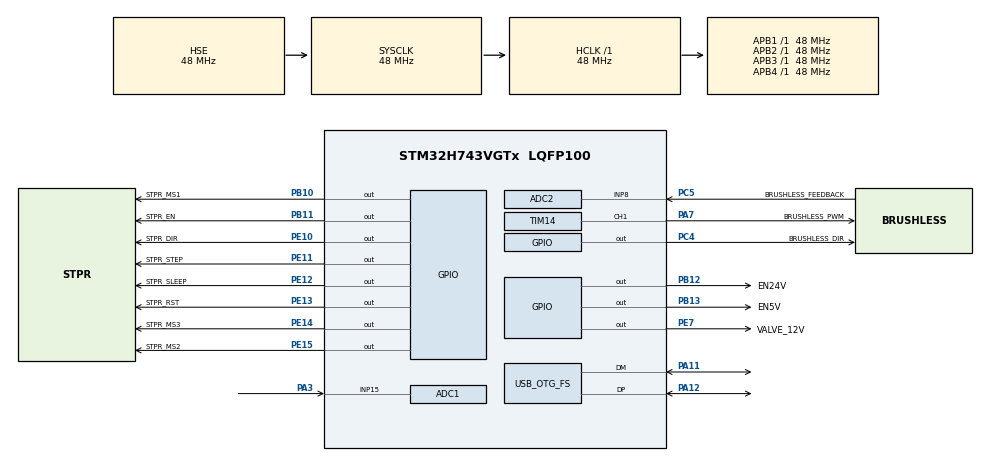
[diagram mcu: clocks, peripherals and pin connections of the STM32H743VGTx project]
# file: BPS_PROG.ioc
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ADC1.Channel-1\#ChannelRegularConversion=ADC_CHANNEL_15
ADC1.NbrOfConversionFlag=1
ADC1.OffsetNumber-1\#ChannelRegularConversion=ADC_OFFSET_NONE
ADC1.OffsetSignedSaturation-1\#ChannelRegularConversion=DISABLE
ADC1.Rank-1\#ChannelRegularConversion=1
ADC1.SamplingTime-1\#ChannelRegularConversion=ADC_SAMPLETIME_1CYCLE_5
ADC1.master=1
ADC2.Channel-0\#ChannelRegularConversion=ADC_CHANNEL_8
ADC2.NbrOfConversionFlag=1
ADC2.OffsetNumber-0\#ChannelRegularConversion=ADC_OFFSET_NONE
ADC2.OffsetSignedSaturation-0\#ChannelRegularConversion=DISABLE
ADC2.Rank-0\#ChannelRegularConversion=1
ADC2.SamplingTime-0\#ChannelRegularConversion=ADC_SAMPLETIME_1CYCLE_5
CORTEX_M7.default_mode_Activation=1
Mcu.Family=STM32H7
Mcu.Name=STM32H743VGTx
Mcu.Package=LQFP100
NVIC.OTG_FS_IRQn=true\:0\:0\:false\:false\:true\:false\:true\:true
NVIC.PriorityGroup=NVIC_PRIORITYGROUP_4
NVIC.TIM16_IRQn=true\:0\:0\:false\:false\:true\:true\:true\:true
NVIC.TIM8_UP_TIM13_IRQn=true\:0\:0\:false\:false\:true\:true\:true\:true
PA11.Mode=Device_Only
PA11.Signal=USB_OTG_FS_DM
PA12.Mode=Device_Only
PA12.Signal=USB_OTG_FS_DP
PA3.Signal=ADCx_INP15
PA7.GPIO_Label=BRUSHLESS_PWM
PA7.Signal=S_TIM14_CH1
PB10.GPIO_Label=STPR_MS1
PB10.Signal=GPIO_Output
PB11.GPIO_Label=STPR_EN
PB11.Signal=GPIO_Output
PB12.GPIO_Label=EN24V
PB12.Signal=GPIO_Output
PB13.GPIO_Label=EN5V
PB13.Signal=GPIO_Output
PC4.GPIO_Label=BRUSHLESS_DIR
PC4.Signal=GPIO_Output
PC5.GPIO_Label=BRUSHLESS_FEEDBACK
PC5.Signal=ADCx_INP8
PE10.GPIO_Label=STPR_DIR
PE10.Signal=GPIO_Output
PE11.GPIO_Label=STPR_STEP
PE11.Signal=GPIO_Output
PE12.GPIO_Label=STPR_SLEEP
PE12.Signal=GPIO_Output
PE13.GPIO_Label=STPR_RST
PE13.Signal=GPIO_Output
PE14.GPIO_Label=STPR_MS3
PE14.Signal=GPIO_Output
PE15.GPIO_Label=STPR_MS2
PE15.Signal=GPIO_Output
PE7.GPIO_Label=VALVE_12V
PE7.Signal=GPIO_Output
PH0-OSC_IN\ (PH0).Mode=HSE-External-Oscillator
PH0-OSC_IN\ (PH0).Signal=RCC_OSC_IN
PH1-OSC_OUT\ (PH1).Mode=HSE-External-Oscillator
PH1-OSC_OUT\ (PH1).Signal=RCC_OSC_OUT
ProjectManager.HeapSize=0x200
ProjectManager.StackSize=0x400
ProjectManager.TargetToolchain=STM32CubeIDE
RCC.ADCCLockSelection=RCC_ADCCLKSOURCE_CLKP
RCC.ADCFreq_Value=64000000
RCC.APB1Freq_Value=48000000
RCC.APB2Freq_Value=48000000
RCC.APB3Freq_Value=48000000
RCC.APB4Freq_Value=48000000
RCC.CortexFreq_Value=48000000
RCC.DIVM3=4
RCC.DIVN3=16
RCC.DIVQ3=4
RCC.HCLKFreq_Value=48000000
RCC.HSE_VALUE=48000000
RCC.PLLSourceVirtual=RCC_PLLSOURCE_HSE
RCC.SYSCLKFreq_VALUE=48000000
RCC.SYSCLKSource=RCC_SYSCLKSOURCE_HSE
RCC.USBCLockSelection=RCC_USBCLKSOURCE_HSI48
RCC.USBFreq_Value=48000000
SH.ADCx_INP15.0=ADC1_INP15,IN15-Single-Ended
SH.ADCx_INP8.0=ADC2_INP8,IN8-Single-Ended
SH.S_TIM14_CH1.0=TIM14_CH1,PWM Generation1 CH1
TIM13.Period=1000-1
TIM13.Prescaler=48-1
TIM14.AutoReloadPreload=TIM_AUTORELOAD_PRELOAD_ENABLE
TIM14.Channel=TIM_CHANNEL_1
TIM14.OCFastMode_PWM=TIM_OCFAST_ENABLE
TIM14.OCPolarity_1=TIM_OCPOLARITY_LOW
TIM14.Period=2000 -1
TIM14.Prescaler=1
TIM14.Pulse=0
TIM16.Period=6- 1
TIM16.Prescaler=4800-1
USB_DEVICE.CLASS_NAME_FS=CDC
USB_DEVICE.VirtualMode-CDC_FS=Cdc
USB_DEVICE.VirtualModeFS=Cdc_FS
USB_OTG_FS.VirtualMode=Device_Only
VP_MEMORYMAP_VS_MEMORYMAP.Mode=CurAppReg
VP_TIM13_VS_ClockSourceINT.Mode=Enable_Timer
VP_TIM14_VS_ClockSourceINT.Mode=Enable_Timer
VP_TIM16_VS_ClockSourceINT.Mode=Enable_Timer
VP_USB_DEVICE_VS_USB_DEVICE_CDC_FS.Mode=CDC_FS
board=custom

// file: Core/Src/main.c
/* USER CODE BEGIN Header */
/**
  ******************************************************************************
  * @file           : main.c
  * @brief          : Main program body
  ******************************************************************************
  * @attention
  *
  * Copyright (c) 2025 STMicroelectronics.
  * All rights reserved.
  *
  * This software is licensed under terms that can be found in the LICENSE file
  * in the root directory of this software component.
  * If no LICENSE file comes with this software, it is provided AS-IS.
  *
  ******************************************************************************
  */
/* USER CODE END Header */
#include "main.h"
#include "usb_device.h"

/* USER CODE BEGIN Includes */
#include "usbd_cdc_if.h"
#include "string.h"
#include "menu.h"
/* USER CODE END Includes */

/* USER CODE BEGIN PD */

uint8_t rx_buffer[64];
uint8_t bufCount;

/* USER CODE END PD */

ADC_HandleTypeDef hadc1;
ADC_HandleTypeDef hadc2;

TIM_HandleTypeDef htim13;
TIM_HandleTypeDef htim14;
TIM_HandleTypeDef htim16;

/* USER CODE BEGIN PV */
uint32_t elapsed_ms = 0;
/* USER CODE END PV */

void SystemClock_Config(void);
void PeriphCommonClock_Config(void);
static void MPU_Config(void);
static void MX_GPIO_Init(void);
static void MX_ADC1_Init(void);
static void MX_TIM16_Init(void);
static void MX_ADC2_Init(void);
static void MX_TIM14_Init(void);
static void MX_TIM13_Init(void);

int main(void)
{

  /* MPU Configuration--------------------------------------------------------*/
  MPU_Config();

  /* MCU Configuration--------------------------------------------------------*/

  /* Reset of all peripherals, Initializes the Flash interface and the Systick. */
  HAL_Init();

  /* Configure the system clock */
  SystemClock_Config();

  /* Configure the peripherals common clocks */
  PeriphCommonClock_Config();

  /* Initialize all configured peripherals */
  MX_GPIO_Init();
  MX_USB_DEVICE_Init();
  MX_ADC1_Init();
  MX_TIM16_Init();
  MX_ADC2_Init();
  MX_TIM14_Init();
  MX_TIM13_Init();
  /* USER CODE BEGIN 2 */
  //Begin global timer
  HAL_TIM_Base_Start_IT(&htim13);

  /* USER CODE END 2 */

  /* Infinite loop */
  /* USER CODE BEGIN WHILE */
  while (1)
  {

	 // printf("Test Scanf \n\n");
	  HAL_GPIO_WritePin(EN5V_GPIO_Port, EN5V_Pin, GPIO_PIN_SET);
	  HAL_TIM_PWM_Start(&htim14, TIM_CHANNEL_1); //This needs to start IMMEDIATELY

	// char buf[64];
	// int co;

	//  co = copyReadBuffer(buf);

	//  printf("Found %d bytes: %s\n", co, buf);

	 // HAL_Delay(5000);
		HAL_TIM_Base_Start_IT(&htim16);

	  printf("BPS Application Loader\n\n");

	  menu();

	  printf("Error: returned from BPS Application menu");

    /* USER CODE END WHILE */

    /* USER CODE BEGIN 3 */
	 // printf("test\n");
	 // char * data = "Hello buddy\n";

	//  CDC_Transmit_FS((uint8_t *) data, strlen(data));
	//  HAL_Delay(1000);

	 // printf("Content in rx buffer: %s\n", rx_buffer);

  }
  /* USER CODE END 3 */
}

void SystemClock_Config(void)
{
  RCC_OscInitTypeDef RCC_OscInitStruct = {0};
  RCC_ClkInitTypeDef RCC_ClkInitStruct = {0};

  /** Supply configuration update enable
  */
  HAL_PWREx_ConfigSupply(PWR_LDO_SUPPLY);

  /** Configure the main internal regulator output voltage
  */
  __HAL_PWR_VOLTAGESCALING_CONFIG(PWR_REGULATOR_VOLTAGE_SCALE3);

  while(!__HAL_PWR_GET_FLAG(PWR_FLAG_VOSRDY)) {}

  /** Initializes the RCC Oscillators according to the specified parameters
  * in the RCC_OscInitTypeDef structure.
  */
  RCC_OscInitStruct.OscillatorType = RCC_OSCILLATORTYPE_HSI48|RCC_OSCILLATORTYPE_HSI
                              |RCC_OSCILLATORTYPE_HSE;
  RCC_OscInitStruct.HSEState = RCC_HSE_ON;
  RCC_OscInitStruct.HSIState = RCC_HSI_DIV1;
  RCC_OscInitStruct.HSICalibrationValue = RCC_HSICALIBRATION_DEFAULT;
  RCC_OscInitStruct.HSI48State = RCC_HSI48_ON;
  RCC_OscInitStruct.PLL.PLLState = RCC_PLL_NONE;
  if (HAL_RCC_OscConfig(&RCC_OscInitStruct) != HAL_OK)
  {
    Error_Handler();
  }

  /** Initializes the CPU, AHB and APB buses clocks
  */
  RCC_ClkInitStruct.ClockType = RCC_CLOCKTYPE_HCLK|RCC_CLOCKTYPE_SYSCLK
                              |RCC_CLOCKTYPE_PCLK1|RCC_CLOCKTYPE_PCLK2
                              |RCC_CLOCKTYPE_D3PCLK1|RCC_CLOCKTYPE_D1PCLK1;
  RCC_ClkInitStruct.SYSCLKSource = RCC_SYSCLKSOURCE_HSE;
  RCC_ClkInitStruct.SYSCLKDivider = RCC_SYSCLK_DIV1;
  RCC_ClkInitStruct.AHBCLKDivider = RCC_HCLK_DIV1;
  RCC_ClkInitStruct.APB3CLKDivider = RCC_APB3_DIV1;
  RCC_ClkInitStruct.APB1CLKDivider = RCC_APB1_DIV1;
  RCC_ClkInitStruct.APB2CLKDivider = RCC_APB2_DIV1;
  RCC_ClkInitStruct.APB4CLKDivider = RCC_APB4_DIV1;

  if (HAL_RCC_ClockConfig(&RCC_ClkInitStruct, FLASH_LATENCY_1) != HAL_OK)
  {
    Error_Handler();
  }
}

void PeriphCommonClock_Config(void)
{
  RCC_PeriphCLKInitTypeDef PeriphClkInitStruct = {0};

  /** Initializes the peripherals clock
  */
  PeriphClkInitStruct.PeriphClockSelection = RCC_PERIPHCLK_CKPER;
  PeriphClkInitStruct.CkperClockSelection = RCC_CLKPSOURCE_HSI;
  if (HAL_RCCEx_PeriphCLKConfig(&PeriphClkInitStruct) != HAL_OK)
  {
    Error_Handler();
  }
}

static void MX_ADC1_Init(void)
{

  ADC_MultiModeTypeDef multimode = {0};
  ADC_ChannelConfTypeDef sConfig = {0};

  /** Common config
  */
  hadc1.Instance = ADC1;
  hadc1.Init.ClockPrescaler = ADC_CLOCK_ASYNC_DIV2;
  hadc1.Init.Resolution = ADC_RESOLUTION_16B;
  hadc1.Init.ScanConvMode = ADC_SCAN_DISABLE;
  hadc1.Init.EOCSelection = ADC_EOC_SINGLE_CONV;
  hadc1.Init.LowPowerAutoWait = DISABLE;
  hadc1.Init.ContinuousConvMode = DISABLE;
  hadc1.Init.NbrOfConversion = 1;
  hadc1.Init.DiscontinuousConvMode = DISABLE;
  hadc1.Init.ExternalTrigConv = ADC_SOFTWARE_START;
  hadc1.Init.ExternalTrigConvEdge = ADC_EXTERNALTRIGCONVEDGE_NONE;
  hadc1.Init.ConversionDataManagement = ADC_CONVERSIONDATA_DR;
  hadc1.Init.Overrun = ADC_OVR_DATA_PRESERVED;
  hadc1.Init.LeftBitShift = ADC_LEFTBITSHIFT_NONE;
  hadc1.Init.OversamplingMode = DISABLE;
  hadc1.Init.Oversampling.Ratio = 1;
  if (HAL_ADC_Init(&hadc1) != HAL_OK)
  {
    Error_Handler();
  }

  /** Configure the ADC multi-mode
  */
  multimode.Mode = ADC_MODE_INDEPENDENT;
  if (HAL_ADCEx_MultiModeConfigChannel(&hadc1, &multimode) != HAL_OK)
  {
    Error_Handler();
  }

  /** Configure Regular Channel
  */
  sConfig.Channel = ADC_CHANNEL_15;
  sConfig.Rank = ADC_REGULAR_RANK_1;
  sConfig.SamplingTime = ADC_SAMPLETIME_1CYCLE_5;
  sConfig.SingleDiff = ADC_SINGLE_ENDED;
  sConfig.OffsetNumber = ADC_OFFSET_NONE;
  sConfig.Offset = 0;
  sConfig.OffsetSignedSaturation = DISABLE;
  if (HAL_ADC_ConfigChannel(&hadc1, &sConfig) != HAL_OK)
  {
    Error_Handler();
  }

}

static void MX_ADC2_Init(void)
{

  ADC_ChannelConfTypeDef sConfig = {0};

  /** Common config
  */
  hadc2.Instance = ADC2;
  hadc2.Init.ClockPrescaler = ADC_CLOCK_ASYNC_DIV2;
  hadc2.Init.Resolution = ADC_RESOLUTION_16B;
  hadc2.Init.ScanConvMode = ADC_SCAN_DISABLE;
  hadc2.Init.EOCSelection = ADC_EOC_SINGLE_CONV;
  hadc2.Init.LowPowerAutoWait = DISABLE;
  hadc2.Init.ContinuousConvMode = DISABLE;
  hadc2.Init.NbrOfConversion = 1;
  hadc2.Init.DiscontinuousConvMode = DISABLE;
  hadc2.Init.ExternalTrigConv = ADC_SOFTWARE_START;
  hadc2.Init.ExternalTrigConvEdge = ADC_EXTERNALTRIGCONVEDGE_NONE;
  hadc2.Init.ConversionDataManagement = ADC_CONVERSIONDATA_DR;
  hadc2.Init.Overrun = ADC_OVR_DATA_PRESERVED;
  hadc2.Init.LeftBitShift = ADC_LEFTBITSHIFT_NONE;
  hadc2.Init.OversamplingMode = DISABLE;
  hadc2.Init.Oversampling.Ratio = 1;
  if (HAL_ADC_Init(&hadc2) != HAL_OK)
  {
    Error_Handler();
  }

  /** Configure Regular Channel
  */
  sConfig.Channel = ADC_CHANNEL_8;
  sConfig.Rank = ADC_REGULAR_RANK_1;
  sConfig.SamplingTime = ADC_SAMPLETIME_1CYCLE_5;
  sConfig.SingleDiff = ADC_SINGLE_ENDED;
  sConfig.OffsetNumber = ADC_OFFSET_NONE;
  sConfig.Offset = 0;
  sConfig.OffsetSignedSaturation = DISABLE;
  if (HAL_ADC_ConfigChannel(&hadc2, &sConfig) != HAL_OK)
  {
    Error_Handler();
  }

}

static void MX_TIM13_Init(void)
{

  htim13.Instance = TIM13;
  htim13.Init.Prescaler = 48-1;
  htim13.Init.CounterMode = TIM_COUNTERMODE_UP;
  htim13.Init.Period = 1000-1;
  htim13.Init.ClockDivision = TIM_CLOCKDIVISION_DIV1;
  htim13.Init.AutoReloadPreload = TIM_AUTORELOAD_PRELOAD_DISABLE;
  if (HAL_TIM_Base_Init(&htim13) != HAL_OK)
  {
    Error_Handler();
  }

}

static void MX_TIM14_Init(void)
{

  TIM_OC_InitTypeDef sConfigOC = {0};

  htim14.Instance = TIM14;
  htim14.Init.Prescaler = 1;
  htim14.Init.CounterMode = TIM_COUNTERMODE_UP;
  htim14.Init.Period = 2000 -1;
  htim14.Init.ClockDivision = TIM_CLOCKDIVISION_DIV1;
  htim14.Init.AutoReloadPreload = TIM_AUTORELOAD_PRELOAD_ENABLE;
  if (HAL_TIM_Base_Init(&htim14) != HAL_OK)
  {
    Error_Handler();
  }
  if (HAL_TIM_PWM_Init(&htim14) != HAL_OK)
  {
    Error_Handler();
  }
  sConfigOC.OCMode = TIM_OCMODE_PWM1;
  sConfigOC.Pulse = 0;
  sConfigOC.OCPolarity = TIM_OCPOLARITY_LOW;
  sConfigOC.OCFastMode = TIM_OCFAST_ENABLE;
  if (HAL_TIM_PWM_ConfigChannel(&htim14, &sConfigOC, TIM_CHANNEL_1) != HAL_OK)
  {
    Error_Handler();
  }
  HAL_TIM_MspPostInit(&htim14);

}

static void MX_TIM16_Init(void)
{

  htim16.Instance = TIM16;
  htim16.Init.Prescaler = 4800-1;
  htim16.Init.CounterMode = TIM_COUNTERMODE_UP;
  htim16.Init.Period = 6- 1;
  htim16.Init.ClockDivision = TIM_CLOCKDIVISION_DIV1;
  htim16.Init.RepetitionCounter = 0;
  htim16.Init.AutoReloadPreload = TIM_AUTORELOAD_PRELOAD_DISABLE;
  if (HAL_TIM_Base_Init(&htim16) != HAL_OK)
  {
    Error_Handler();
  }

}

static void MX_GPIO_Init(void)
{
  GPIO_InitTypeDef GPIO_InitStruct = {0};

  /* GPIO Ports Clock Enable */
  __HAL_RCC_GPIOH_CLK_ENABLE();
  __HAL_RCC_GPIOA_CLK_ENABLE();
  __HAL_RCC_GPIOC_CLK_ENABLE();
  __HAL_RCC_GPIOE_CLK_ENABLE();
  __HAL_RCC_GPIOB_CLK_ENABLE();

  /*Configure GPIO pin Output Level */
  HAL_GPIO_WritePin(BRUSHLESS_DIR_GPIO_Port, BRUSHLESS_DIR_Pin, GPIO_PIN_RESET);

  /*Configure GPIO pin Output Level */
  HAL_GPIO_WritePin(GPIOE, VALVE_12V_Pin|STPR_DIR_Pin|STPR_STEP_Pin|STPR_SLEEP_Pin
                          |STPR_RST_Pin|STPR_MS3_Pin|STPR_MS2_Pin, GPIO_PIN_RESET);

  /*Configure GPIO pin Output Level */
  HAL_GPIO_WritePin(GPIOB, STPR_MS1_Pin|STPR_EN_Pin|EN24V_Pin|EN5V_Pin, GPIO_PIN_RESET);

  /*Configure GPIO pin : BRUSHLESS_DIR_Pin */
  GPIO_InitStruct.Pin = BRUSHLESS_DIR_Pin;
  GPIO_InitStruct.Mode = GPIO_MODE_OUTPUT_PP;
  GPIO_InitStruct.Pull = GPIO_NOPULL;
  GPIO_InitStruct.Speed = GPIO_SPEED_FREQ_LOW;
  HAL_GPIO_Init(BRUSHLESS_DIR_GPIO_Port, &GPIO_InitStruct);

  /*Configure GPIO pins : VALVE_12V_Pin STPR_DIR_Pin STPR_STEP_Pin STPR_SLEEP_Pin
                           STPR_RST_Pin STPR_MS3_Pin STPR_MS2_Pin */
  GPIO_InitStruct.Pin = VALVE_12V_Pin|STPR_DIR_Pin|STPR_STEP_Pin|STPR_SLEEP_Pin
                          |STPR_RST_Pin|STPR_MS3_Pin|STPR_MS2_Pin;
  GPIO_InitStruct.Mode = GPIO_MODE_OUTPUT_PP;
  GPIO_InitStruct.Pull = GPIO_NOPULL;
  GPIO_InitStruct.Speed = GPIO_SPEED_FREQ_LOW;
  HAL_GPIO_Init(GPIOE, &GPIO_InitStruct);

  /*Configure GPIO pins : STPR_MS1_Pin STPR_EN_Pin EN24V_Pin EN5V_Pin */
  GPIO_InitStruct.Pin = STPR_MS1_Pin|STPR_EN_Pin|EN24V_Pin|EN5V_Pin;
  GPIO_InitStruct.Mode = GPIO_MODE_OUTPUT_PP;
  GPIO_InitStruct.Pull = GPIO_NOPULL;
  GPIO_InitStruct.Speed = GPIO_SPEED_FREQ_LOW;
  HAL_GPIO_Init(GPIOB, &GPIO_InitStruct);

}

/* USER CODE BEGIN 4 */

//Redirect printf to the USB
int _write(int file, char* ptr, int len) {
	CDC_Transmit_FS((uint8_t *) ptr, len);
	return len;
}

//Redirect scanf to point to the input buffer
int copyReadBuffer(uint8_t * buf){
	memset(buf, '\0', sizeof(buf));

	if (rx_buffer[0] == '\0') return -1;

	int count = 0;
	for (int i = 0; i < sizeof(rx_buffer); i++){
		buf[i] = rx_buffer[i];
		count++;
		if (buf[i] == '\0') break;
	}

	buf[63] = '\0';
	memset(rx_buffer, '\0', sizeof(rx_buffer));
	bufCount = 0;
	return count;

}

uint32_t get_time_ms()
{
    return elapsed_ms;
}
void HAL_TIM_PeriodElapsedCallback(TIM_HandleTypeDef *htim)
{
    if (htim->Instance == TIM13)
    {
        elapsed_ms++;

    }

	if (htim == &htim16){

		HAL_GPIO_TogglePin(STPR_STEP_GPIO_Port, STPR_STEP_Pin);
		//printf("Step");
	}
}

/* USER CODE END 4 */

 /* MPU Configuration */

void MPU_Config(void)
{
  MPU_Region_InitTypeDef MPU_InitStruct = {0};

  /* Disables the MPU */
  HAL_MPU_Disable();

  /** Initializes and configures the Region and the memory to be protected
  */
  MPU_InitStruct.Enable = MPU_REGION_ENABLE;
  MPU_InitStruct.Number = MPU_REGION_NUMBER0;
  MPU_InitStruct.BaseAddress = 0x0;
  MPU_InitStruct.Size = MPU_REGION_SIZE_4GB;
  MPU_InitStruct.SubRegionDisable = 0x87;
  MPU_InitStruct.TypeExtField = MPU_TEX_LEVEL0;
  MPU_InitStruct.AccessPermission = MPU_REGION_NO_ACCESS;
  MPU_InitStruct.DisableExec = MPU_INSTRUCTION_ACCESS_DISABLE;
  MPU_InitStruct.IsShareable = MPU_ACCESS_SHAREABLE;
  MPU_InitStruct.IsCacheable = MPU_ACCESS_NOT_CACHEABLE;
  MPU_InitStruct.IsBufferable = MPU_ACCESS_NOT_BUFFERABLE;

  HAL_MPU_ConfigRegion(&MPU_InitStruct);
  /* Enables the MPU */
  HAL_MPU_Enable(MPU_PRIVILEGED_DEFAULT);

}

void Error_Handler(void)
{
  __disable_irq();
  while (1)
  {
  }
}
